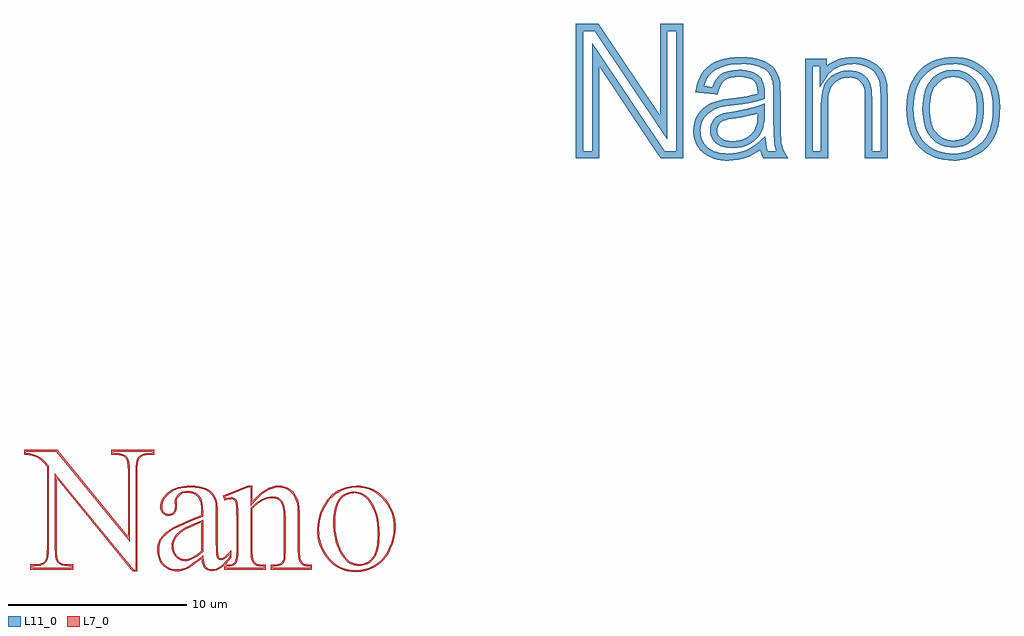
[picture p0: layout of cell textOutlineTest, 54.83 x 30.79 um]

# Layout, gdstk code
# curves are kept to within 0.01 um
import gdstk
lib = gdstk.Library(unit=1e-6, precision=1e-09)
def P(c, l, *ps):  # polygons
    for p in ps: c.add(gdstk.Polygon(p, *l))
L7_0 = (7, 0)
L11_0 = (11, 0)

textoutlinetest = lib.new_cell('textOutlineTest')
P(textoutlinetest, L7_0, [(-4.321,-3.402),(-4.402,-3.302),(-4.175,-3.302),(-4.175,2.227),(-4.147,2.695),(-4.11,2.86),(-4.057,2.974),(-3.947,3.092),(-3.804,3.177),(-3.629,3.228),(-3.238,3.245),(-3.238,3.333),(-5.434,3.333),(-5.434,3.245),(-5.073,3.231),(-4.906,3.19),(-4.765,3.122),(-4.651,3.026),(-4.613,2.974),(-4.533,2.732),(-4.506,2.507),(-4.497,2.227),(-4.497,-1.726),(-8.618,3.333),(-10.341,3.333),(-10.341,3.245),(-10.117,3.231),(-9.953,3.196),(-9.687,3.098),(-9.495,2.994),(-9.308,2.828),(-9.044,2.526),(-9.044,-2.102),(-9.072,-2.558),(-9.109,-2.721),(-9.162,-2.833),(-9.272,-2.952),(-9.414,-3.037),(-9.589,-3.087),(-9.981,-3.105),(-9.981,-3.192),(-7.769,-3.192),(-7.769,-3.105),(-8.146,-3.091),(-8.313,-3.05),(-8.454,-2.981),(-8.568,-2.885),(-8.602,-2.837),(-8.674,-2.602),(-8.706,-2.102),(-8.706,2.117),(-4.273,-3.302),(-4.402,-3.302),(-8.606,1.836),(-8.606,-2.102),(-8.576,-2.586),(-8.541,-2.73),(-8.494,-2.818),(-8.396,-2.9),(-8.273,-2.958),(-8.126,-2.993),(-7.669,-3.005),(-7.669,-3.292),(-10.081,-3.292),(-10.081,-3.005),(-9.612,-2.99),(-9.46,-2.948),(-9.337,-2.876),(-9.244,-2.776),(-9.202,-2.684),(-9.171,-2.543),(-9.144,-2.102),(-9.144,2.49),(-9.474,2.85),(-9.552,2.912),(-9.731,3.008),(-9.984,3.101),(-10.152,3.134),(-10.441,3.145),(-10.441,3.433),(-8.57,3.433),(-4.597,-1.445),(-4.597,2.227),(-4.605,2.498),(-4.631,2.714),(-4.671,2.864),(-4.725,2.959),(-4.823,3.04),(-4.945,3.099),(-5.093,3.134),(-5.534,3.145),(-5.534,3.433),(-3.137,3.433),(-3.137,3.145),(-3.606,3.131),(-3.759,3.088),(-3.881,3.017),(-3.974,2.917),(-4.017,2.823),(-4.048,2.68),(-4.075,2.227),(-4.075,-3.402)],
  [(-1.844,-3.386),(-2.078,-3.365),(-2.29,-3.302),(-2.387,-3.254),(-2.479,-3.197),(-2.646,-3.05),(-2.782,-2.87),(-2.879,-2.665),(-2.913,-2.553),(-2.951,-2.31),(-2.947,-2.015),(-2.919,-1.862),(-2.873,-1.721),(-2.809,-1.591),(-2.685,-1.424),(-2.526,-1.261),(-2.329,-1.103),(-2.096,-0.949),(-1.811,-0.794),(-1.445,-0.624),(-0.472,-0.238),(-0.484,0.199),(-0.522,0.448),(-0.584,0.644),(-0.671,0.788),(-0.78,0.89),(-0.913,0.962),(-1.069,1.006),(-1.249,1.02),(-1.388,1.01),(-1.509,0.981),(-1.612,0.932),(-1.699,0.863),(-1.829,0.699),(-1.861,0.613),(-1.872,0.523),(-1.856,0.245),(-1.865,0.124),(-1.889,0.019),(-1.931,-0.071),(-1.988,-0.145),(-2.059,-0.202),(-2.139,-0.243),(-2.328,-0.277),(-2.428,-0.268),(-2.517,-0.241),(-2.595,-0.197),(-2.663,-0.135),(-2.716,-0.059),(-2.777,0.13),(-2.784,0.242),(-2.756,0.46),(-2.672,0.668),(-2.532,0.866),(-2.441,0.961),(-2.22,1.139),(-2.093,1.213),(-1.808,1.326),(-1.48,1.394),(-1.109,1.417),(-0.813,1.404),(-0.546,1.365),(-0.309,1.3),(-0.101,1.208),(0.038,1.116),(0.158,1.003),(0.259,0.869),(0.342,0.716),(0.385,0.575),(0.434,0.135),(0.446,-2.207),(0.463,-2.468),(0.489,-2.569),(0.525,-2.626),(0.57,-2.652),(0.625,-2.661),(0.74,-2.636),(1.206,-2.2),(1.206,-2.618),(0.921,-2.959),(0.785,-3.088),(0.513,-3.278),(0.377,-3.338),(0.243,-3.374),(0.109,-3.386),(-0.013,-3.374),(-0.123,-3.338),(-0.208,-3.286),(0.228,-3.275),(0.469,-3.188),(0.718,-3.013),(0.846,-2.892),(1.106,-2.585),(1.106,-2.44),(0.791,-2.723),(0.711,-2.752),(0.625,-2.761),(0.535,-2.746),(0.46,-2.702),(0.402,-2.618),(0.365,-2.485),(0.341,-1.695),(0.335,0.125),(0.29,0.545),(0.251,0.676),(0.176,0.815),(0.084,0.935),(-0.024,1.037),(-0.149,1.12),(-0.346,1.206),(-0.571,1.268),(-0.825,1.305),(-1.292,1.312),(-1.463,1.296),(-1.774,1.232),(-2.044,1.126),(-2.273,0.977),(-2.453,0.805),(-2.582,0.625),(-2.659,0.437),(-2.684,0.242),(-2.66,0.064),(-2.587,-0.069),(-2.476,-0.15),(-2.407,-0.17),(-2.248,-0.17),(-2.114,-0.119),(-2.014,-0.016),(-1.982,0.056),(-1.956,0.242),(-1.972,0.521),(-1.959,0.632),(-1.921,0.738),(-1.857,0.839),(-1.768,0.935),(-1.666,1.016),(-1.546,1.074),(-1.407,1.109),(-1.25,1.12),(-1.048,1.103),(-0.872,1.053),(-0.72,0.97),(-0.595,0.853),(-0.497,0.694),(-0.428,0.482),(-0.386,0.217),(-0.372,-0.308),(-1.391,-0.709),(-1.759,-0.88),(-2.044,-1.035),(-2.268,-1.182),(-2.455,-1.332),(-2.607,-1.486),(-2.723,-1.643),(-2.781,-1.76),(-2.848,-2.028),(-2.856,-2.18),(-2.839,-2.416),(-2.746,-2.726),(-2.697,-2.817),(-2.573,-2.982),(-2.422,-3.115),(-2.338,-3.167),(-2.25,-3.21),(-2.058,-3.267),(-1.845,-3.286),(-1.703,-3.278),(-1.432,-3.218),(-1.187,-3.099),(-0.376,-2.503),(-0.357,-2.773),(-0.328,-2.92),(-0.285,-3.04),(-0.227,-3.132),(-0.159,-3.2),(-0.081,-3.248),(0.008,-3.276),(0.108,-3.286),(-0.208,-3.286),(-0.304,-3.196),(-0.364,-3.104),(-0.411,-2.99),(-0.466,-2.699),(-0.978,-3.079),(-1.261,-3.256),(-1.544,-3.354)],
  [(-1.391,-2.823),(-1.537,-2.808),(-1.675,-2.761),(-1.735,-2.723),(-1.302,-2.716),(-1.104,-2.657),(-0.748,-2.457),(-0.472,-2.25),(-0.472,-0.645),(-1.028,-0.879),(-1.35,-1.036),(-1.521,-1.143),(-1.786,-1.363),(-1.882,-1.475),(-1.953,-1.587),(-2.003,-1.703),(-2.034,-1.822),(-2.044,-1.945),(-2.031,-2.108),(-1.994,-2.256),(-1.932,-2.388),(-1.846,-2.506),(-1.744,-2.601),(-1.634,-2.669),(-1.517,-2.71),(-1.392,-2.723),(-1.735,-2.723),(-1.802,-2.682),(-1.92,-2.573),(-2.018,-2.44),(-2.088,-2.291),(-2.13,-2.126),(-2.144,-1.945),(-2.132,-1.806),(-2.098,-1.672),(-2.042,-1.542),(-1.962,-1.416),(-1.86,-1.296),(-1.733,-1.178),(-1.4,-0.949),(-1.049,-0.779),(-0.372,-0.496),(-0.372,-2.297),(-0.686,-2.536),(-0.952,-2.696),(-1.187,-2.791)],
  [(0.809,-3.292),(0.809,-3.02),(1.116,-3.011),(1.233,-2.983),(1.324,-2.936),(1.388,-2.87),(1.436,-2.77),(1.47,-2.63),(1.497,-2.227),(1.487,0.076),(1.459,0.403),(1.418,0.533),(1.365,0.611),(1.293,0.648),(1.188,0.661),(1.052,0.642),(0.829,0.567),(0.735,0.849),(2.131,1.417),(2.394,1.417),(2.394,0.549),(2.583,0.753),(2.955,1.078),(3.138,1.2),(3.318,1.295),(3.496,1.363),(3.671,1.404),(3.844,1.417),(4.032,1.405),(4.207,1.368),(4.367,1.307),(4.513,1.221),(4.645,1.107),(4.762,0.964),(4.865,0.791),(4.953,0.588),(4.996,0.422),(5.044,-0.032),(5.05,-2.227),(5.068,-2.571),(5.091,-2.693),(5.149,-2.838),(5.182,-2.883),(5.275,-2.956),(5.434,-3.004),(5.737,-3.02),(5.737,-3.292),(3.434,-3.292),(3.434,-3.192),(5.637,-3.192),(5.637,-3.12),(5.391,-3.098),(5.298,-3.075),(5.161,-3),(5.064,-2.891),(4.996,-2.725),(4.955,-2.425),(4.95,-2.227),(4.944,-0.04),(4.899,0.397),(4.859,0.554),(4.777,0.743),(4.683,0.904),(4.576,1.035),(4.456,1.139),(4.323,1.217),(4.176,1.273),(4.017,1.306),(3.844,1.317),(3.672,1.303),(3.497,1.259),(3.319,1.186),(3.138,1.083),(2.954,0.952),(2.766,0.791),(2.576,0.601),(2.294,0.276),(2.294,1.317),(2.15,1.317),(0.859,0.792),(0.89,0.698),(1.054,0.745),(1.188,0.761),(1.328,0.742),(1.432,0.686),(1.504,0.584),(1.557,0.425),(1.574,0.296),(1.597,-0.57),(1.597,-2.227),(1.589,-2.464),(1.565,-2.659),(1.526,-2.814),(1.471,-2.927),(1.39,-3.011),(1.279,-3.072),(1.139,-3.108),(0.909,-3.12),(0.909,-3.192),(3.028,-3.192),(3.028,-3.12),(2.747,-3.098),(2.569,-3.044),(2.448,-2.947),(2.362,-2.812),(2.331,-2.726),(2.31,-2.599),(2.294,-2.227),(2.294,0.152),(2.456,0.317),(2.755,0.557),(3.057,0.718),(3.362,0.798),(3.516,0.808),(3.701,0.789),(3.859,0.734),(3.928,0.692),(3.99,0.64),(4.09,0.509),(4.162,0.346),(4.212,0.14),(4.243,-0.108),(4.253,-0.398),(4.249,-2.544),(4.237,-2.705),(4.163,-2.886),(4.046,-3.017),(3.965,-3.062),(3.731,-3.114),(3.534,-3.12),(3.534,-3.192),(3.434,-3.192),(3.434,-3.02),(3.715,-3.015),(3.918,-2.973),(4.037,-2.89),(4.114,-2.763),(4.139,-2.683),(4.153,-2.227),(4.153,-0.398),(4.144,-0.121),(4.116,0.114),(4.069,0.308),(4.003,0.46),(3.92,0.568),(3.813,0.645),(3.678,0.692),(3.516,0.708),(3.374,0.699),(3.092,0.624),(2.812,0.476),(2.533,0.253),(2.394,0.113),(2.394,-2.227),(2.426,-2.697),(2.483,-2.828),(2.566,-2.921),(2.618,-2.956),(2.79,-3.004),(3.128,-3.02),(3.128,-3.292)],
  [(8.188,-3.433),(7.934,-3.42),(7.694,-3.381),(7.528,-3.333),(8.188,-3.333),(8.479,-3.314),(8.758,-3.257),(8.893,-3.214),(9.278,-3.028),(9.513,-2.857),(9.721,-2.648),(9.814,-2.53),(9.982,-2.266),(10.181,-1.817),(10.27,-1.518),(10.323,-1.223),(10.341,-0.93),(10.308,-0.521),(10.211,-0.138),(10.048,0.221),(9.821,0.554),(9.666,0.733),(9.499,0.888),(9.319,1.019),(9.127,1.127),(8.923,1.21),(8.706,1.27),(8.477,1.305),(8.234,1.317),(7.964,1.3),(7.702,1.247),(7.449,1.158),(7.205,1.035),(7.088,0.96),(6.871,0.78),(6.771,0.675),(6.588,0.436),(6.428,0.157),(6.297,-0.143),(6.203,-0.445),(6.147,-0.749),(6.128,-1.055),(6.136,-1.259),(6.197,-1.651),(6.251,-1.84),(6.404,-2.201),(6.503,-2.373),(6.769,-2.726),(6.933,-2.887),(7.11,-3.023),(7.299,-3.135),(7.502,-3.221),(7.717,-3.283),(7.945,-3.32),(8.186,-3.333),(7.528,-3.333),(7.468,-3.315),(7.255,-3.224),(7.055,-3.107),(6.869,-2.964),(6.697,-2.795),(6.418,-2.426),(6.227,-2.062),(6.1,-1.675),(6.06,-1.474),(6.028,-1.055),(6.048,-0.737),(6.106,-0.422),(6.202,-0.109),(6.419,0.353),(6.506,0.493),(6.698,0.743),(6.914,0.953),(7.031,1.042),(7.154,1.121),(7.411,1.251),(7.676,1.343),(7.951,1.399),(8.234,1.417),(8.488,1.405),(8.728,1.367),(8.956,1.304),(9.17,1.217),(9.372,1.104),(9.561,0.967),(9.736,0.804),(10.026,0.446),(10.229,0.085),(10.305,-0.105),(10.407,-0.504),(10.441,-0.93),(10.422,-1.234),(10.367,-1.54),(10.275,-1.85),(10.069,-2.315),(9.894,-2.591),(9.795,-2.715),(9.69,-2.829),(9.458,-3.028),(9.331,-3.113),(9.064,-3.253),(8.926,-3.308),(8.641,-3.388),(8.493,-3.413)],
  [(8.391,-3.089),(8.227,-3.077),(8.071,-3.042),(7.937,-2.989),(8.501,-2.983),(8.605,-2.966),(8.799,-2.896),(8.975,-2.78),(9.056,-2.704),(9.204,-2.514),(9.265,-2.394),(9.359,-2.101),(9.416,-1.738),(9.434,-1.305),(9.403,-0.745),(9.308,-0.25),(9.237,-0.028),(9.15,0.178),(9.048,0.367),(8.929,0.54),(8.844,0.645),(8.656,0.814),(8.443,0.926),(8.328,0.961),(8.078,0.989),(7.837,0.954),(7.713,0.909),(7.587,0.847),(7.468,0.762),(7.362,0.649),(7.268,0.505),(7.187,0.333),(7.12,0.13),(7.073,-0.099),(7.044,-0.353),(7.04,-0.872),(7.087,-1.323),(7.129,-1.537),(7.246,-1.938),(7.323,-2.125),(7.508,-2.466),(7.612,-2.606),(7.724,-2.724),(7.843,-2.82),(7.968,-2.894),(8.101,-2.947),(8.242,-2.979),(8.392,-2.989),(7.937,-2.989),(7.786,-2.902),(7.657,-2.799),(7.537,-2.672),(7.426,-2.523),(7.232,-2.167),(7.086,-1.772),(7.032,-1.561),(6.989,-1.342),(6.94,-0.878),(6.944,-0.344),(6.974,-0.08),(7.024,0.158),(7.094,0.37),(7.183,0.558),(7.287,0.715),(7.405,0.84),(7.538,0.934),(7.676,1.002),(7.946,1.079),(8.218,1.081),(8.477,1.02),(8.71,0.898),(8.916,0.714),(9.132,0.42),(9.239,0.224),(9.329,0.011),(9.403,-0.218),(9.501,-0.728),(9.534,-1.305),(9.514,-1.755),(9.453,-2.134),(9.352,-2.442),(9.211,-2.68),(9.037,-2.859),(8.942,-2.929),(8.737,-3.031),(8.627,-3.063)])
P(textoutlinetest, L11_0, [(25.331,19.8),(25.063,20.2),(26.206,20.2),(26.206,26.956),(25.7,26.956),(25.701,20.872),(21.628,26.956),(20.966,26.956),(20.966,20.2),(21.472,20.2),(21.471,26.284),(25.544,20.2),(25.063,20.2),(21.872,24.967),(21.872,19.8),(20.566,19.8),(20.566,27.356),(21.841,27.356),(25.3,22.19),(25.3,27.356),(26.606,27.356),(26.606,19.8)],
  [(29.141,19.675),(28.698,19.705),(28.309,19.794),(27.971,19.942),(27.777,20.075),(29.377,20.085),(29.605,20.115),(29.825,20.164),(30.039,20.234),(30.251,20.328),(30.468,20.453),(30.689,20.607),(31.212,21.049),(31.283,20.418),(31.349,20.2),(31.824,20.2),(31.76,20.393),(31.717,20.592),(31.692,20.82),(31.659,22.172),(31.649,23.823),(31.617,24.115),(31.525,24.397),(31.385,24.622),(31.292,24.715),(31.173,24.802),(30.859,24.953),(30.654,25.016),(30.419,25.061),(30.155,25.088),(29.551,25.086),(29.262,25.055),(28.994,25.002),(28.746,24.929),(28.533,24.84),(28.346,24.735),(28.186,24.613),(28.054,24.475),(27.885,24.208),(27.761,23.874),(28.231,23.814),(28.32,24.039),(28.427,24.232),(28.551,24.392),(28.694,24.52),(28.786,24.581),(29.002,24.677),(29.402,24.762),(29.9,24.773),(30.229,24.729),(30.376,24.691),(30.637,24.582),(30.751,24.511),(30.927,24.355),(31.045,24.171),(31.089,24.063),(31.124,23.943),(31.163,23.669),(31.169,23.158),(30.742,23.016),(30.375,22.931),(29.938,22.854),(28.981,22.725),(28.674,22.665),(28.516,22.618),(28.229,22.488),(27.983,22.315),(27.879,22.212),(27.706,21.966),(27.596,21.685),(27.568,21.533),(27.565,21.236),(27.614,20.977),(27.713,20.745),(27.782,20.638),(27.955,20.444),(28.062,20.358),(28.31,20.219),(28.452,20.167),(28.771,20.098),(29.137,20.075),(27.777,20.075),(27.562,20.274),(27.456,20.407),(27.292,20.697),(27.193,21.019),(27.159,21.375),(27.172,21.584),(27.209,21.784),(27.27,21.976),(27.356,22.159),(27.461,22.327),(27.582,22.48),(27.718,22.615),(27.87,22.735),(28.202,22.922),(28.575,23.053),(28.909,23.118),(30.183,23.301),(30.769,23.44),(30.758,23.725),(30.724,23.898),(30.667,24.033),(30.587,24.131),(30.514,24.189),(30.338,24.282),(30.235,24.316),(29.999,24.363),(29.723,24.378),(29.464,24.367),(29.249,24.333),(29.071,24.277),(28.931,24.198),(28.818,24.091),(28.72,23.947),(28.637,23.764),(28.525,23.373),(27.279,23.531),(27.39,24.032),(27.485,24.294),(27.602,24.525),(27.743,24.728),(27.913,24.906),(28.115,25.062),(28.348,25.195),(28.613,25.306),(28.893,25.389),(29.195,25.449),(29.517,25.485),(29.859,25.497),(30.19,25.486),(30.491,25.455),(30.761,25.402),(31,25.328),(31.217,25.234),(31.405,25.128),(31.563,25.009),(31.693,24.878),(31.797,24.734),(31.885,24.572),(31.955,24.394),(32.008,24.199),(32.047,23.865),(32.072,21.192),(32.111,20.658),(32.142,20.513),(32.243,20.235),(32.487,19.8),(31.095,19.8),(30.965,20.085),(30.907,20.27),(30.54,20.03),(30.18,19.86),(29.932,19.779),(29.677,19.721),(29.413,19.687)],
  [(29.344,20.378),(28.938,20.418),(28.71,20.49),(28.515,20.596),(28.319,20.778),(29.569,20.79),(29.778,20.826),(29.972,20.887),(30.152,20.971),(30.309,21.074),(30.444,21.196),(30.557,21.335),(30.648,21.493),(30.701,21.638),(30.739,21.818),(30.769,22.325),(30.232,22.186),(29.129,21.991),(28.971,21.95),(28.77,21.87),(28.639,21.766),(28.548,21.631),(28.502,21.475),(28.497,21.391),(28.509,21.269),(28.546,21.156),(28.608,21.054),(28.695,20.963),(28.813,20.882),(28.96,20.824),(29.136,20.79),(29.34,20.778),(28.319,20.778),(28.181,20.992),(28.144,21.085),(28.102,21.284),(28.107,21.534),(28.137,21.671),(28.186,21.801),(28.255,21.923),(28.343,22.035),(28.445,22.131),(28.563,22.212),(28.841,22.329),(29.023,22.376),(30.314,22.615),(30.632,22.701),(31.169,22.911),(31.169,22.281),(31.159,21.988),(31.129,21.73),(31.079,21.507),(31.009,21.321),(30.887,21.109),(30.736,20.922),(30.556,20.76),(30.348,20.622),(30.121,20.516),(29.879,20.439),(29.619,20.393)],
  [(33.456,19.8),(33.456,25.388),(34.653,25.388),(34.653,24.989),(34.956,25.21),(35.297,25.369),(35.676,25.464),(36.094,25.497),(36.343,25.486),(36.584,25.452),(36.815,25.396),(37.037,25.318),(37.249,25.216),(37.433,25.098),(37.589,24.963),(37.717,24.811),(37.819,24.651),(37.904,24.477),(37.972,24.289),(38.024,24.088),(38.046,23.929),(38.075,23.188),(38.075,19.8),(36.8,19.8),(36.8,20.2),(37.675,20.2),(37.675,23.188),(37.664,23.689),(37.632,24.01),(37.591,24.169),(37.471,24.454),(37.392,24.579),(37.299,24.687),(37.184,24.785),(37.046,24.872),(36.885,24.948),(36.7,25.013),(36.506,25.06),(36.094,25.097),(35.852,25.085),(35.632,25.05),(35.427,24.991),(35.236,24.908),(35.06,24.802),(34.899,24.672),(34.752,24.519),(34.253,23.79),(34.253,24.987),(33.856,24.987),(33.856,20.2),(34.331,20.2),(34.339,23.09),(34.4,23.552),(34.453,23.751),(34.521,23.929),(34.604,24.087),(34.701,24.223),(34.814,24.339),(35.06,24.517),(35.191,24.587),(35.468,24.689),(35.614,24.721),(35.922,24.747),(36.117,24.735),(36.301,24.698),(36.474,24.638),(36.636,24.553),(36.785,24.445),(36.91,24.321),(37.01,24.181),(37.085,24.025),(37.135,23.858),(37.193,23.424),(37.2,23.156),(37.2,20.2),(36.8,20.2),(36.8,23.156),(36.778,23.585),(36.712,23.882),(36.602,24.066),(36.426,24.213),(36.314,24.271),(36.062,24.338),(35.8,24.342),(35.573,24.303),(35.362,24.226),(35.076,24.036),(34.995,23.952),(34.865,23.726),(34.779,23.424),(34.752,23.245),(34.731,22.828),(34.731,19.8)],
  [(41.766,19.675),(41.478,19.687),(41.204,19.723),(40.945,19.783),(40.699,19.867),(40.467,19.974),(40.3,20.075),(41.766,20.075),(42.071,20.093),(42.364,20.149),(42.647,20.241),(42.919,20.37),(43.046,20.447),(43.277,20.621),(43.38,20.719),(43.562,20.938),(43.713,21.185),(43.777,21.325),(43.833,21.479),(43.919,21.824),(43.97,22.222),(43.987,22.672),(43.978,22.952),(43.949,23.216),(43.9,23.464),(43.832,23.696),(43.745,23.912),(43.638,24.111),(43.511,24.294),(43.365,24.462),(43.204,24.611),(43.033,24.74),(42.85,24.849),(42.656,24.938),(42.451,25.008),(42.235,25.057),(42.008,25.087),(41.763,25.097),(41.335,25.065),(41.134,25.025),(40.761,24.896),(40.589,24.808),(40.271,24.583),(40.096,24.411),(39.945,24.217),(39.817,24.002),(39.713,23.764),(39.632,23.505),(39.574,23.223),(39.539,22.919),(39.528,22.594),(39.538,22.295),(39.566,22.014),(39.614,21.752),(39.682,21.508),(39.769,21.282),(39.875,21.075),(40,20.887),(40.145,20.716),(40.304,20.566),(40.475,20.436),(40.658,20.325),(40.854,20.235),(41.063,20.165),(41.283,20.115),(41.516,20.085),(41.762,20.075),(40.3,20.075),(40.045,20.261),(39.855,20.44),(39.685,20.64),(39.538,20.86),(39.413,21.1),(39.31,21.359),(39.231,21.638),(39.174,21.937),(39.14,22.256),(39.128,22.594),(39.142,22.964),(39.184,23.31),(39.253,23.632),(39.349,23.931),(39.473,24.205),(39.625,24.456),(39.803,24.683),(40.01,24.886),(40.193,25.029),(40.387,25.153),(40.591,25.258),(40.805,25.344),(41.03,25.411),(41.51,25.487),(41.766,25.497),(42.046,25.485),(42.313,25.449),(42.568,25.39),(42.81,25.307),(43.039,25.201),(43.256,25.072),(43.46,24.918),(43.651,24.741),(43.823,24.544),(43.973,24.329),(44.099,24.097),(44.203,23.847),(44.283,23.58),(44.341,23.295),(44.376,22.992),(44.388,22.672),(44.368,22.174),(44.308,21.73),(44.263,21.528),(44.208,21.34),(44.069,21.002),(43.983,20.849),(43.782,20.568),(43.667,20.441),(43.409,20.213),(43.266,20.112),(42.955,19.939),(42.795,19.869),(42.464,19.761),(42.121,19.697)],
  [(41.766,20.409),(41.583,20.418),(41.241,20.489),(40.931,20.629),(40.685,20.809),(41.77,20.809),(42.039,20.836),(42.284,20.917),(42.504,21.051),(42.7,21.24),(42.789,21.358),(42.933,21.643),(43.028,21.989),(43.075,22.397),(43.075,22.838),(43.027,23.223),(42.985,23.395),(42.863,23.698),(42.693,23.946),(42.495,24.135),(42.275,24.27),(42.156,24.317),(41.904,24.371),(41.762,24.378),(41.491,24.352),(41.244,24.272),(41.021,24.139),(40.918,24.053),(40.73,23.837),(40.652,23.705),(40.531,23.396),(40.458,23.025),(40.44,22.817),(40.44,22.37),(40.488,21.969),(40.585,21.63),(40.652,21.483),(40.821,21.235),(40.918,21.135),(41.13,20.975),(41.365,20.869),(41.623,20.816),(41.762,20.809),(40.685,20.809),(40.522,20.969),(40.408,21.114),(40.309,21.276),(40.225,21.455),(40.157,21.65),(40.065,22.089),(40.034,22.594),(40.065,23.099),(40.157,23.538),(40.225,23.733),(40.309,23.911),(40.408,24.073),(40.522,24.219),(40.787,24.463),(41.082,24.638),(41.408,24.743),(41.766,24.778),(42.116,24.742),(42.281,24.698),(42.438,24.635),(42.731,24.458),(42.994,24.21),(43.108,24.063),(43.207,23.902),(43.291,23.726),(43.359,23.535),(43.45,23.11),(43.481,22.625),(43.451,22.114),(43.361,21.669),(43.294,21.471),(43.212,21.291),(43.115,21.126),(43.003,20.979),(42.742,20.73),(42.449,20.553),(42.29,20.49),(42.123,20.446)])

lib.write_gds('textOutlineTest.gds')
